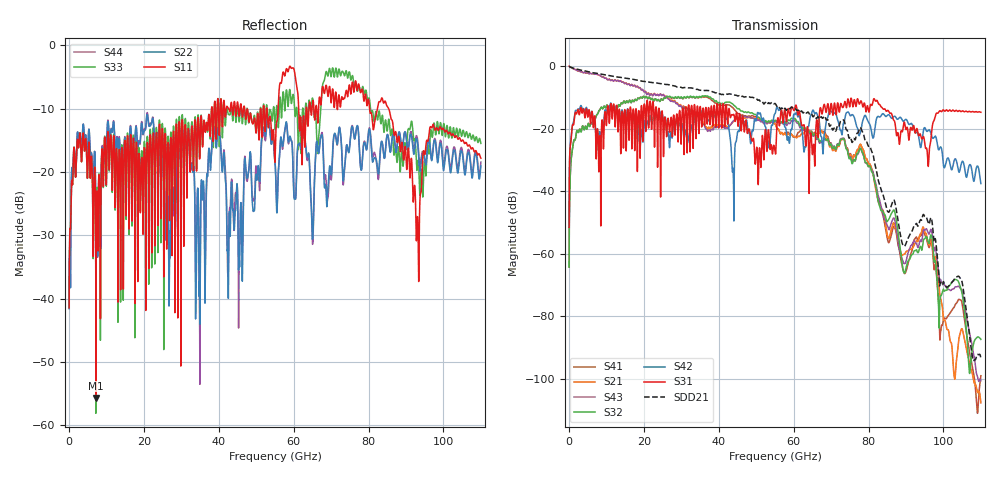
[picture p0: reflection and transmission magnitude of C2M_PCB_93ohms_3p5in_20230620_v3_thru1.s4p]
! Info: Touchstone file created by Circ.  Input file=C2M_PCB_93ohms_3p5in_20230620_v3.circ
# Hz S RI R 50
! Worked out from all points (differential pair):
!   11000 points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, 10 MHz to 110 GHz, reference 50 ohm
!   strongest paths, dB at 10 MHz, 27.51 GHz, 55.01 GHz, 82.51 GHz, 110 GHz:
!     S31: -51.6, -21.1, -27.2, -11.8, -14.8
!     S42: -51.5, -23.1, -15.3, -16.1, -37.6
!     S32: -64.3, -10.0, -17.4, -43.0, -87.4
!     S43: -0.1, -11.2, -17.7, -41.2, -100.6
!     S21: -0.1, -10.9, -18.3, -42.9, -107.6
!     S41: -64.3, -10.2, -18.5, -41.7, -99.0
!   taken as a pair (ports 3,1 in; 4,2 out), SDD21 dB: -0.1, -6.2, -12.0, -36.2, -93.5
!   lowest |S11| = -55.7 dB at 7.17 GHz (marker M1), VSWR 1.00, Z = 50 + j0.16 ohm
!   |S11| at or under -10 dB: start of sweep to 38.05 GHz; 46.9 GHz to 51.14 GHz (4.235 GHz wide, 8.64 % of centre); 85.37 GHz to end of sweep (the widest 3 of 23)
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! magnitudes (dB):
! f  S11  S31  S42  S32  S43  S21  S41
! 10 MHz  -41.4  -51.6  -51.5  -64.3  -0.1  -0.1  -64.3
! 1.5 GHz  -17.5  -15.9  -15.4  -23.6  -1.1  -1.1  -23.6
! 7.17 GHz  -55.7  -26.4  -22.4  -16.3  -2.6  -2.6  -16.2
! 77.98 GHz  -7.4  -11.2  -20.5  -26.6  -26.7  -25.3  -25.4
! 89.47 GHz  -17.7  -18.0  -17.6  -66.1  -63.1  -60.2  -66.1
! 94.73 GHz  -16.6  -22.7  -20.2  -55.4  -52.3  -51.9  -52.7
! 110 GHz  -17.8  -14.8  -37.6  -87.4  -100.6  -107.6  -99.0
